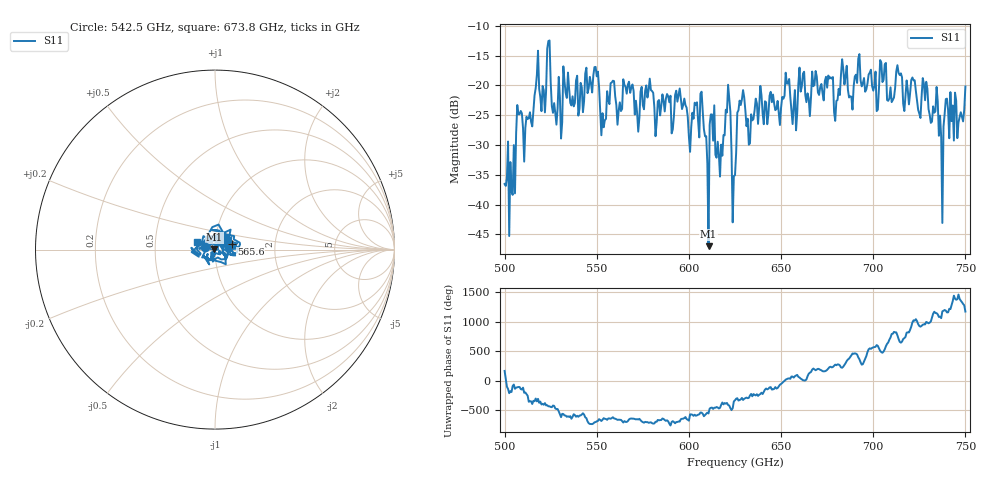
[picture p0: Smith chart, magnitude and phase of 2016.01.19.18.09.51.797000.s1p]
!Created with skrf (http://scikit-rf.org).
# GHz S RI R 50.0
!freq ReS11 ImS11
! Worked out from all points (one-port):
!   401 points, 500 GHz to 750 GHz, reference 50 ohm
!   lowest |S11| = -47.0 dB at 610.6 GHz (marker M1), VSWR 1.01, Z = 49.6 + j0.138 ohm
!   |S11| at or under -10 dB: start of sweep to end of sweep
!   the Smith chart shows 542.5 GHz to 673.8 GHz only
!   S11 on the Smith chart (normalised r, x): 542.5 GHz: 0.89, +0.03; 565.6 GHz: 1.20, +0.07; 673.8 GHz: 0.81, +0.07
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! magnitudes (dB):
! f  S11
! 500 GHz  -36.5
! 503.8 GHz  -37.8
! 508.1 GHz  -24.8
! 521.2 GHz  -20.8
! 523.8 GHz  -12.5
! 526.9 GHz  -23.0
! 531.2 GHz  -26.1
! 542.5 GHz  -24.5
! 562.5 GHz  -22.8
! 565.6 GHz  -20.3
! 593.8 GHz  -22.7
! 607.5 GHz  -24.4
! 610.6 GHz  -47.0
! 612.5 GHz  -24.9
! 617.5 GHz  -29.9
! 621.2 GHz  -19.9
! 625 GHz  -35.1
! 628.8 GHz  -22.3
! 632.5 GHz  -29.9
! 656.2 GHz  -26.5
! 673.8 GHz  -19.2
! 687.5 GHz  -21.8
! 691.2 GHz  -19.6
! 718.8 GHz  -20.8
! 728.1 GHz  -22.5
! 736.9 GHz  -28.7
! 739.4 GHz  -22.3
! 750 GHz  -20.2
